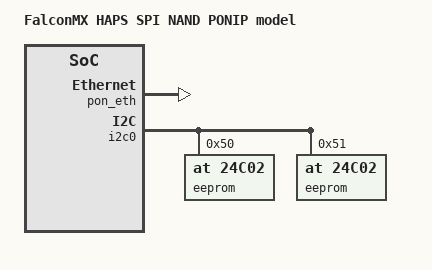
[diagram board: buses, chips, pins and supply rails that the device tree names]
#include "falconmx_haps_spi_nand.dts"

/ {
	model = "FalconMX HAPS SPI NAND PONIP model";
	compatible = "intel,falconmx_haps_spi_nand_ponip", "intel,falconmx_haps_spi_nand", "intel,falconmx";
};

&pon_eth {
	status = "okay";
};

&qspi0 {
	status = "disabled";
};

&pinctrl {
	/*
	 * This is used by the PON IP FPGA to access registers
	 * on the Falcon MX on the HAPS
	 */
	pinctrl_aca_spi_slave: aca_spi_slave {
		intel,pins =  <20>, /* ACA_SPI_CLK */
			      <21>, /* ACA_SPI_TX */
			      <22>, /* ACA_SPI_RX */
			      <23>; /* ACA_SPI_CS */
		intel,function = "aca_spi_slave";
		intel,mux = <EQBR_MUX_4>;
		intel,groups = "aca_spi_slave";
	};
};

&wan {
	status = "disabled";
};

&ssc1 {
	ponmbox@0 {
		compatible = "intel,pon_mbox";
		reg = <0>;
		spi-max-frequency = <1000000>;
		spi-cpha;
		spi-cpol;

		interrupts = <28 IRQ_TYPE_LEVEL_HIGH>;
		interrupt-parent = <&gpio0>;

		pinctrl-names = "default";
		/*
		 * This is used by the PON IP FPGA to access registers
		 * on the Falcon MX on the HAPS
		 */
		pinctrl-0 = <&pinctrl_aca_spi_slave>;
	};
};

&i2c0 {
	eeprom@50 {
		compatible = "at,24c02";
		reg = <0x50>;
	};
	eeprom@51 {
		compatible = "at,24c02";
		reg = <0x51>;
	};
};
